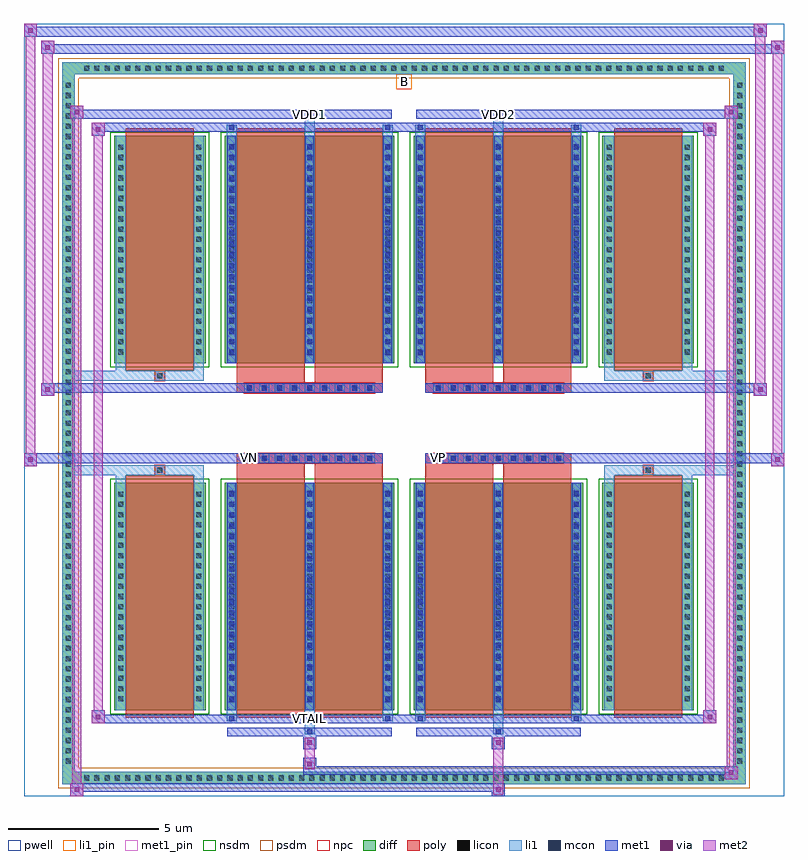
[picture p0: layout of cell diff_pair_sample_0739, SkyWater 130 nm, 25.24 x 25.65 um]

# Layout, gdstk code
import gdstk
lib = gdstk.Library(unit=1e-6, precision=5e-09)
def R(c, l, rs):  # rectangles x0, y0, x1, y1
    for r in rs: c.add(gdstk.rectangle(r[:2], r[2:], *l))
def A(c, l, x, y, w, h, nx, ny, dx, dy):  # array of equal rectangles
    R(c, l, [(x+i*dx, y+j*dy, x+i*dx+w, y+j*dy+h) for i in range(nx) for j in range(ny)])
def P(c, l, *ps):  # polygons
    for p in ps: c.add(gdstk.Polygon(p, *l))
pwell = (64, 44)
diff = (65, 20)
poly = (66, 20)
licon = (66, 44)
li1_pin = (67, 16)
li1 = (67, 20)
mcon = (67, 44)
met1_pin = (68, 16)
met1 = (68, 20)
via = (68, 44)
met2 = (69, 20)
nsdm = (93, 44)
psdm = (94, 20)
npc = (95, 20)

diff_pair_sample_0739 = lib.new_cell('diff_pair_sample_0739')
R(diff_pair_sample_0739, pwell, [(-12.62,-12.39,12.62,13.26), (-9.94,-10.58,-0.01,-0.8), (0.01,-10.58,9.94,-0.8), (-9.94,0.8,-0.01,10.58), (0.01,0.8,9.94,10.58)])
A(diff_pair_sample_0739, diff, -10.745, -11.99, 0.41, 0.41, 63, 2, 0.34, 23.57)
A(diff_pair_sample_0739, diff, -11.35, -11.425, 0.41, 0.41, 1, 67, 0, 0.34)
A(diff_pair_sample_0739, diff, 10.94, -11.425, 0.41, 0.41, 1, 67, 0, 0.34)
R(diff_pair_sample_0739, diff, [(-10.745,-11.99,10.745,-11.58), (-11.35,-11.425,-10.94,11.425), (10.94,-11.425,11.35,11.425), (-9.63,-9.535,-6.59,-1.985), (-5.95,-9.535,-0.32,-1.985), (0.32,-9.535,5.95,-1.985), (6.59,-9.535,9.63,-1.985), (-9.63,1.985,-6.59,9.535), (-5.95,1.985,-0.32,9.535), (0.32,1.985,5.95,9.535), (6.59,1.985,9.63,9.535), (-10.745,11.58,10.745,11.99)])
P(diff_pair_sample_0739, diff, [(11.35,11.99),(-11.35,11.99),(-11.35,-11.58),(-10.94,-11.58),(-10.94,11.58),(10.94,11.58),(10.94,-11.58),(-10.94,-11.58),(-11.35,-11.58),(-11.35,-11.99),(11.35,-11.99)])
A(diff_pair_sample_0739, poly, -5.3, -1.33, 0.33, 0.33, 9, 2, 0.5, 2.33)
A(diff_pair_sample_0739, poly, 0.97, -1.33, 0.33, 0.33, 9, 2, 0.5, 2.33)
R(diff_pair_sample_0739, poly, [(-9.24,-9.785,-6.98,-1.735), (-5.56,-9.785,-3.3,-1.735), (-2.97,-9.785,-0.71,-1.735), (0.71,-9.785,2.97,-1.735), (3.3,-9.785,5.56,-1.735), (6.98,-9.785,9.24,-1.735), (-8.275,-1.735,-7.945,-1.405), (-8.275,-1.735,-7.945,-1.405), (-5.56,-1.735,-3.3,-1.33), (-2.97,-1.735,-0.71,-1.33), (0.71,-1.735,2.97,-1.33), (3.3,-1.735,5.56,-1.33), (7.945,-1.735,8.275,-1.405), (7.945,-1.735,8.275,-1.405), (-5.56,-1.33,-0.71,-1), (0.71,-1.33,5.56,-1), (-5.56,1,-0.71,1.33), (0.71,1,5.56,1.33), (-5.56,1.33,-3.3,1.735), (-2.97,1.33,-0.71,1.735), (0.71,1.33,2.97,1.735), (3.3,1.33,5.56,1.735), (-8.275,1.405,-7.945,1.735), (-8.275,1.405,-7.945,1.735), (7.945,1.405,8.275,1.735), (7.945,1.405,8.275,1.735), (-9.24,1.735,-6.98,9.785), (-5.56,1.735,-3.3,9.785), (-2.97,1.735,-0.71,9.785), (0.71,1.735,2.97,9.785), (3.3,1.735,5.56,9.785), (6.98,1.735,9.24,9.785)])
A(diff_pair_sample_0739, licon, -10.625, -11.87, 0.17, 0.17, 63, 2, 0.34, 23.57)
A(diff_pair_sample_0739, licon, -11.23, -11.305, 0.17, 0.17, 1, 67, 0, 0.34)
A(diff_pair_sample_0739, licon, 11.06, -11.305, 0.17, 0.17, 1, 67, 0, 0.34)
A(diff_pair_sample_0739, licon, -9.49, -9.245, 0.17, 0.17, 1, 21, 0, 0.34)
A(diff_pair_sample_0739, licon, -6.9, -9.245, 0.17, 0.17, 1, 21, 0, 0.34)
A(diff_pair_sample_0739, licon, -5.81, -9.245, 0.17, 0.17, 3, 21, 2.59, 0.34)
A(diff_pair_sample_0739, licon, 0.46, -9.245, 0.17, 0.17, 3, 21, 2.59, 0.34)
A(diff_pair_sample_0739, licon, 6.73, -9.245, 0.17, 0.17, 1, 21, 0, 0.34)
A(diff_pair_sample_0739, licon, 9.32, -9.245, 0.17, 0.17, 1, 21, 0, 0.34)
A(diff_pair_sample_0739, licon, -5.22, -1.25, 0.17, 0.17, 9, 2, 0.5, 2.33)
A(diff_pair_sample_0739, licon, 1.05, -1.25, 0.17, 0.17, 9, 2, 0.5, 2.33)
A(diff_pair_sample_0739, licon, -9.49, 2.275, 0.17, 0.17, 1, 21, 0, 0.34)
A(diff_pair_sample_0739, licon, -6.9, 2.275, 0.17, 0.17, 1, 21, 0, 0.34)
A(diff_pair_sample_0739, licon, -5.81, 2.275, 0.17, 0.17, 3, 21, 2.59, 0.34)
A(diff_pair_sample_0739, licon, 0.46, 2.275, 0.17, 0.17, 3, 21, 2.59, 0.34)
A(diff_pair_sample_0739, licon, 6.73, 2.275, 0.17, 0.17, 1, 21, 0, 0.34)
A(diff_pair_sample_0739, licon, 9.32, 2.275, 0.17, 0.17, 1, 21, 0, 0.34)
R(diff_pair_sample_0739, licon, [(-8.195,-1.655,-8.025,-1.485), (8.025,-1.655,8.195,-1.485), (-8.195,1.485,-8.025,1.655), (8.025,1.485,8.195,1.655)])
R(diff_pair_sample_0739, li1_pin, [(-0.25,11.08,0.25,11.58)])
A(diff_pair_sample_0739, li1, -10.705, -11.95, 0.33, 0.33, 63, 2, 0.34, 23.57)
A(diff_pair_sample_0739, li1, -11.31, -11.385, 0.33, 0.33, 1, 67, 0, 0.34)
A(diff_pair_sample_0739, li1, 10.98, -11.385, 0.33, 0.33, 1, 67, 0, 0.34)
A(diff_pair_sample_0739, li1, -5.89, -9.535, 0.33, 7.55, 3, 2, 2.59, 11.52)
A(diff_pair_sample_0739, li1, 0.38, -9.535, 0.33, 7.55, 3, 2, 2.59, 11.52)
A(diff_pair_sample_0739, li1, -9.57, -9.325, 0.33, 0.33, 1, 21, 0, 0.34)
A(diff_pair_sample_0739, li1, -6.98, -9.325, 0.33, 0.33, 1, 21, 0, 0.34)
A(diff_pair_sample_0739, li1, -5.89, -9.325, 0.33, 0.33, 3, 21, 2.59, 0.34)
A(diff_pair_sample_0739, li1, 0.38, -9.325, 0.33, 0.33, 3, 21, 2.59, 0.34)
A(diff_pair_sample_0739, li1, 6.65, -9.325, 0.33, 0.33, 1, 21, 0, 0.34)
A(diff_pair_sample_0739, li1, 9.24, -9.325, 0.33, 0.33, 1, 21, 0, 0.34)
A(diff_pair_sample_0739, li1, -5.81, -9.265, 0.17, 0.17, 3, 20, 2.59, 0.36)
A(diff_pair_sample_0739, li1, -5.81, -9.265, 0.17, 7.01, 3, 2, 2.59, 11.52)
A(diff_pair_sample_0739, li1, 0.46, -9.265, 0.17, 0.17, 3, 20, 2.59, 0.36)
A(diff_pair_sample_0739, li1, 0.46, -9.265, 0.17, 7.01, 3, 2, 2.59, 11.52)
A(diff_pair_sample_0739, li1, -5.3, -1.33, 0.33, 0.33, 9, 2, 0.5, 2.33)
A(diff_pair_sample_0739, li1, 0.97, -1.33, 0.33, 0.33, 9, 2, 0.5, 2.33)
A(diff_pair_sample_0739, li1, -9.57, 2.195, 0.33, 0.33, 1, 21, 0, 0.34)
A(diff_pair_sample_0739, li1, -6.98, 2.195, 0.33, 0.33, 1, 21, 0, 0.34)
A(diff_pair_sample_0739, li1, -5.89, 2.195, 0.33, 0.33, 3, 21, 2.59, 0.34)
A(diff_pair_sample_0739, li1, 0.38, 2.195, 0.33, 0.33, 3, 21, 2.59, 0.34)
A(diff_pair_sample_0739, li1, 6.65, 2.195, 0.33, 0.33, 1, 21, 0, 0.34)
A(diff_pair_sample_0739, li1, 9.24, 2.195, 0.33, 0.33, 1, 21, 0, 0.34)
A(diff_pair_sample_0739, li1, -5.81, 2.255, 0.17, 0.17, 3, 20, 2.59, 0.36)
A(diff_pair_sample_0739, li1, 0.46, 2.255, 0.17, 0.17, 3, 20, 2.59, 0.36)
R(diff_pair_sample_0739, li1, [(-11.35,-11.99,-10.94,-11.58), (-11.35,-11.99,-10.94,-11.58), (-10.94,-11.99,10.94,-11.58), (10.94,-11.99,11.35,-11.58), (10.94,-11.99,11.35,-11.58), (-11.35,-11.58,-10.94,11.58), (10.94,-11.58,11.35,11.58), (-3.3,-10.34,-2.97,-9.535), (-3.22,-10.34,-3.05,-10.17), (2.97,-10.34,3.3,-9.535), (3.05,-10.34,3.22,-10.17), (-5.89,-9.91,-5.56,-9.535), (-5.81,-9.91,-5.64,-9.74), (-0.71,-9.91,-0.38,-9.535), (-0.63,-9.91,-0.46,-9.74), (0.38,-9.91,0.71,-9.535), (0.46,-9.91,0.63,-9.74), (5.56,-9.91,5.89,-9.535), (5.64,-9.91,5.81,-9.74), (-9.57,-9.535,-9.24,-1.985), (-6.98,-9.535,-6.65,-1.985), (6.65,-9.535,6.98,-1.985), (9.24,-9.535,9.57,-1.985), (-9.57,-1.985,-9.24,-1.405), (-6.98,-1.985,-6.65,-1.405), (6.65,-1.985,6.98,-1.405), (9.24,-1.985,9.57,-1.405), (-11.35,-1.735,-8.275,-1.405), (-9.57,-1.735,-8.275,-1.405), (-8.275,-1.735,-7.945,-1.405), (-7.945,-1.735,-6.65,-1.405), (6.65,-1.735,7.945,-1.405), (7.945,-1.735,8.275,-1.405), (7.945,-1.735,11.35,-1.405), (8.275,-1.735,9.57,-1.405), (-11.35,1.405,-8.275,1.735), (-9.57,1.405,-8.275,1.735), (-9.57,1.405,-9.24,1.985), (-8.275,1.405,-7.945,1.735), (-7.945,1.405,-6.65,1.735), (-6.98,1.405,-6.65,1.985), (6.65,1.405,7.945,1.735), (6.65,1.405,6.98,1.985), (7.945,1.405,8.275,1.735), (7.945,1.405,11.35,1.735), (8.275,1.405,9.57,1.735), (9.24,1.405,9.57,1.985), (-9.57,1.985,-9.24,9.535), (-6.98,1.985,-6.65,9.535), (6.65,1.985,6.98,9.535), (9.24,1.985,9.57,9.535), (-5.89,9.535,-5.56,9.91), (-3.3,9.535,-2.97,10.34), (-0.71,9.535,-0.38,9.91), (0.38,9.535,0.71,9.91), (2.97,9.535,3.3,10.34), (5.56,9.535,5.89,9.91), (-5.81,9.74,-5.64,9.91), (-0.63,9.74,-0.46,9.91), (0.46,9.74,0.63,9.91), (5.64,9.74,5.81,9.91), (-3.22,10.17,-3.05,10.34), (3.05,10.17,3.22,10.34), (-11.35,11.58,-10.94,11.99), (-11.35,11.58,-10.94,11.99), (-10.94,11.58,10.94,11.99), (10.94,11.58,11.35,11.99), (10.94,11.58,11.35,11.99)])
A(diff_pair_sample_0739, mcon, -5.81, -9.265, 0.17, 0.17, 3, 20, 2.59, 0.36)
A(diff_pair_sample_0739, mcon, 0.46, -9.265, 0.17, 0.17, 3, 20, 2.59, 0.36)
A(diff_pair_sample_0739, mcon, -5.22, -1.25, 0.17, 0.17, 9, 2, 0.5, 2.33)
A(diff_pair_sample_0739, mcon, 1.05, -1.25, 0.17, 0.17, 9, 2, 0.5, 2.33)
A(diff_pair_sample_0739, mcon, -5.81, 2.255, 0.17, 0.17, 3, 20, 2.59, 0.36)
A(diff_pair_sample_0739, mcon, 0.46, 2.255, 0.17, 0.17, 3, 20, 2.59, 0.36)
R(diff_pair_sample_0739, mcon, [(-3.22,-10.34,-3.05,-10.17), (3.05,-10.34,3.22,-10.17), (-5.81,-9.91,-5.64,-9.74), (-0.63,-9.91,-0.46,-9.74), (0.46,-9.91,0.63,-9.74), (5.64,-9.91,5.81,-9.74), (-5.81,9.74,-5.64,9.91), (-0.63,9.74,-0.46,9.91), (0.46,9.74,0.63,9.91), (5.64,9.74,5.81,9.91), (-3.22,10.17,-3.05,10.34), (3.05,10.17,3.22,10.34)])
R(diff_pair_sample_0739, met1_pin, [(-3.27,-9.95,-3,-9.68), (-5.27,-1.29,-5,-1.02), (1,-1.29,1.27,-1.02), (-3.27,10.13,-3,10.4), (3,10.13,3.27,10.4)])
A(diff_pair_sample_0739, met1, -5.87, -9.535, 0.29, 7.55, 3, 2, 2.59, 11.52)
A(diff_pair_sample_0739, met1, 0.4, -9.535, 0.29, 7.55, 3, 2, 2.59, 11.52)
A(diff_pair_sample_0739, met1, -5.87, -9.325, 0.29, 0.29, 3, 20, 2.59, 0.36)
A(diff_pair_sample_0739, met1, 0.4, -9.325, 0.29, 0.29, 3, 20, 2.59, 0.36)
A(diff_pair_sample_0739, met1, -5.28, -1.31, 0.29, 0.29, 9, 2, 0.5, 2.33)
A(diff_pair_sample_0739, met1, 0.99, -1.31, 0.29, 0.29, 9, 2, 0.5, 2.33)
A(diff_pair_sample_0739, met1, -5.87, 2.195, 0.29, 0.29, 3, 20, 2.59, 0.36)
A(diff_pair_sample_0739, met1, 0.4, 2.195, 0.29, 0.29, 3, 20, 2.59, 0.36)
R(diff_pair_sample_0739, met1, [(-11.08,-12.39,-10.65,-11.96), (2.92,-12.39,3.35,-11.96), (-11.08,-12.25,3.35,-11.96), (10.65,-11.82,11.08,-11.39), (-3.35,-11.68,11.08,-11.39), (-3.35,-11.54,-2.92,-11.11), (-3.35,-10.83,-2.92,-10.4), (2.92,-10.83,3.35,-10.4), (-5.87,-10.4,-0.4,-10.11), (-3.28,-10.4,-2.99,-10.11), (0.4,-10.4,5.87,-10.11), (2.99,-10.4,3.28,-10.11), (-10.37,-9.97,-9.94,-9.54), (-10.37,-9.97,-5.87,-9.68), (-5.87,-9.97,-5.58,-9.68), (-5.87,-9.97,-0.4,-9.68), (-0.69,-9.97,-0.4,-9.68), (-0.4,-9.97,0.4,-9.68), (0.4,-9.97,0.69,-9.68), (0.4,-9.97,5.87,-9.68), (5.58,-9.97,5.87,-9.68), (5.87,-9.97,10.37,-9.68), (9.94,-9.97,10.37,-9.54), (-12.62,-1.43,-12.19,-1), (12.19,-1.43,12.62,-1), (-12.62,-1.33,-0.71,-1), (-5.56,-1.33,-0.71,-1), (0.71,-1.33,5.56,-1), (0.71,-1.33,12.62,-1), (-12.05,0.9,-11.62,1.33), (11.62,0.9,12.05,1.33), (-12.05,1,-5.56,1.33), (-5.56,1,-0.71,1.33), (0.71,1,5.56,1.33), (5.56,1,12.05,1.33), (-10.37,9.54,-9.94,9.97), (9.94,9.54,10.37,9.97), (-10.37,9.68,-5.87,9.97), (-5.87,9.68,-5.58,9.97), (-5.87,9.68,-0.4,9.97), (-0.69,9.68,-0.4,9.97), (-0.4,9.68,0.4,9.97), (0.4,9.68,0.69,9.97), (0.4,9.68,5.87,9.97), (5.58,9.68,5.87,9.97), (5.87,9.68,10.37,9.97), (-11.08,10.11,-10.65,10.54), (-11.08,10.11,-5.87,10.4), (-5.87,10.11,-0.4,10.4), (-3.28,10.11,-2.99,10.4), (0.4,10.11,5.87,10.4), (2.99,10.11,3.28,10.4), (5.87,10.11,11.08,10.4), (10.65,10.11,11.08,10.54), (-12.05,12.26,-11.62,12.69), (-12.05,12.26,-9.94,12.59), (-9.94,12.26,9.94,12.59), (9.94,12.26,12.62,12.59), (12.19,12.26,12.62,12.69), (-12.62,12.83,-12.19,13.26), (-12.62,12.83,-9.94,13.16), (-9.94,12.83,9.94,13.16), (9.94,12.83,12.05,13.16), (11.62,12.83,12.05,13.26)])
R(diff_pair_sample_0739, via, [(-10.94,-12.25,-10.79,-12.1), (3.06,-12.25,3.21,-12.1), (10.79,-11.68,10.94,-11.53), (-3.21,-11.4,-3.06,-11.25), (-3.21,-10.69,-3.06,-10.54), (3.06,-10.69,3.21,-10.54), (-10.23,-9.83,-10.08,-9.68), (10.08,-9.83,10.23,-9.68), (-12.48,-1.29,-12.33,-1.14), (12.33,-1.29,12.48,-1.14), (-11.91,1.04,-11.76,1.19), (11.76,1.04,11.91,1.19), (-10.23,9.68,-10.08,9.83), (10.08,9.68,10.23,9.83), (-10.94,10.25,-10.79,10.4), (10.79,10.25,10.94,10.4), (-11.91,12.4,-11.76,12.55), (12.33,12.4,12.48,12.55), (-12.48,12.97,-12.33,13.12), (11.76,12.97,11.91,13.12)])
R(diff_pair_sample_0739, met2, [(-11.08,-12.39,-10.65,-11.96), (-11.01,-12.39,-10.72,10.54), (-10.72,-12.39,-10.65,-11.96), (-11.03,-12.34,-10.7,-12.01), (2.97,-12.34,3.3,-12.01), (2.97,-12.01,3.3,-10.78), (10.65,-11.82,11.08,-11.39), (10.72,-11.82,11.01,10.54), (11.01,-11.82,11.08,-11.39), (10.7,-11.77,11.03,-11.44), (-3.3,-11.49,-2.97,-11.16), (-3.3,-11.16,-2.97,-10.78), (-3.3,-10.78,-2.97,-10.45), (2.97,-10.78,3.3,-10.45), (-10.37,-9.97,-9.94,-9.54), (-10.3,-9.97,-10.01,9.97), (-10.01,-9.97,-9.94,-9.54), (9.94,-9.97,10.37,-9.54), (10.01,-9.97,10.3,9.97), (10.3,-9.97,10.37,-9.54), (-10.32,-9.92,-9.99,-9.59), (9.99,-9.92,10.32,-9.59), (-12.62,-1.43,-12.19,-1), (-12.57,-1.43,-12.24,13.26), (-12.24,-1.43,-12.19,-1), (12.19,-1.43,12.62,-1), (12.24,-1.43,12.57,12.69), (12.57,-1.43,12.62,-1), (-12.57,-1.38,-12.24,-1.05), (12.24,-1.38,12.57,-1.05), (-12.05,0.9,-11.62,1.33), (-12,0.9,-11.67,12.69), (-11.67,0.9,-11.62,1.33), (11.62,0.9,12.05,1.33), (11.67,0.9,12,13.26), (12,0.9,12.05,1.33), (-12,0.95,-11.67,1.28), (11.67,0.95,12,1.28), (-10.37,9.54,-9.94,9.97), (-10.01,9.54,-9.94,9.97), (9.94,9.54,10.37,9.97), (10.3,9.54,10.37,9.97), (-10.32,9.59,-9.99,9.92), (9.99,9.59,10.32,9.92), (-11.08,10.11,-10.65,10.54), (-10.72,10.11,-10.65,10.54), (10.65,10.11,11.08,10.54), (11.01,10.11,11.08,10.54), (-11.03,10.16,-10.7,10.49), (10.7,10.16,11.03,10.49), (-12.05,12.26,-11.62,12.69), (-11.67,12.26,-11.62,12.69), (12.19,12.26,12.62,12.69), (12.57,12.26,12.62,12.69), (-12,12.31,-11.67,12.64), (12.24,12.31,12.57,12.64), (-12.62,12.83,-12.19,13.26), (-12.24,12.83,-12.19,13.26), (11.62,12.83,12.05,13.26), (12,12.83,12.05,13.26), (-12.57,12.88,-12.24,13.21), (11.67,12.88,12,13.21)])
R(diff_pair_sample_0739, nsdm, [(-9.76,-9.665,-6.46,-1.855), (-6.08,-9.665,-0.19,-1.855), (0.19,-9.665,6.08,-1.855), (6.46,-9.665,9.76,-1.855), (-9.76,1.855,-6.46,9.665), (-6.08,1.855,-0.19,9.665), (0.19,1.855,6.08,9.665), (6.46,1.855,9.76,9.665)])
P(diff_pair_sample_0739, psdm, [(11.48,12.12),(-11.48,12.12),(-11.48,-11.45),(-10.81,-11.45),(-10.81,11.45),(10.81,11.45),(10.81,-11.45),(-10.81,-11.45),(-11.48,-11.45),(-11.48,-12.12),(11.48,-12.12)])
A(diff_pair_sample_0739, npc, -5.32, -1.35, 0.37, 0.37, 9, 2, 0.5, 2.33)
A(diff_pair_sample_0739, npc, 0.95, -1.35, 0.37, 0.37, 9, 2, 0.5, 2.33)
R(diff_pair_sample_0739, npc, [(-8.295,-1.755,-7.925,-1.385), (7.925,-1.755,8.295,-1.385), (-5.32,-1.35,-4.45,-0.98), (-5.32,-1.35,-4.45,-0.98), (-4.82,-1.35,-3.95,-0.98), (-4.82,-1.35,-3.95,-0.98), (-4.32,-1.35,-3.45,-0.98), (-4.32,-1.35,-3.45,-0.98), (-3.82,-1.35,-2.95,-0.98), (-3.82,-1.35,-2.95,-0.98), (-3.32,-1.35,-2.45,-0.98), (-3.32,-1.35,-2.45,-0.98), (-2.82,-1.35,-1.95,-0.98), (-2.82,-1.35,-1.95,-0.98), (-2.32,-1.35,-1.45,-0.98), (-2.32,-1.35,-1.45,-0.98), (-1.82,-1.35,-0.95,-0.98), (-1.82,-1.35,-0.95,-0.98), (0.95,-1.35,1.82,-0.98), (0.95,-1.35,1.82,-0.98), (1.45,-1.35,2.32,-0.98), (1.45,-1.35,2.32,-0.98), (1.95,-1.35,2.82,-0.98), (1.95,-1.35,2.82,-0.98), (2.45,-1.35,3.32,-0.98), (2.45,-1.35,3.32,-0.98), (2.95,-1.35,3.82,-0.98), (2.95,-1.35,3.82,-0.98), (3.45,-1.35,4.32,-0.98), (3.45,-1.35,4.32,-0.98), (3.95,-1.35,4.82,-0.98), (3.95,-1.35,4.82,-0.98), (4.45,-1.35,5.32,-0.98), (4.45,-1.35,5.32,-0.98), (-5.32,0.98,-4.45,1.35), (-5.32,0.98,-4.45,1.35), (-4.82,0.98,-3.95,1.35), (-4.82,0.98,-3.95,1.35), (-4.32,0.98,-3.45,1.35), (-4.32,0.98,-3.45,1.35), (-3.82,0.98,-2.95,1.35), (-3.82,0.98,-2.95,1.35), (-3.32,0.98,-2.45,1.35), (-3.32,0.98,-2.45,1.35), (-2.82,0.98,-1.95,1.35), (-2.82,0.98,-1.95,1.35), (-2.32,0.98,-1.45,1.35), (-2.32,0.98,-1.45,1.35), (-1.82,0.98,-0.95,1.35), (-1.82,0.98,-0.95,1.35), (0.95,0.98,1.82,1.35), (0.95,0.98,1.82,1.35), (1.45,0.98,2.32,1.35), (1.45,0.98,2.32,1.35), (1.95,0.98,2.82,1.35), (1.95,0.98,2.82,1.35), (2.45,0.98,3.32,1.35), (2.45,0.98,3.32,1.35), (2.95,0.98,3.82,1.35), (2.95,0.98,3.82,1.35), (3.45,0.98,4.32,1.35), (3.45,0.98,4.32,1.35), (3.95,0.98,4.82,1.35), (3.95,0.98,4.82,1.35), (4.45,0.98,5.32,1.35), (4.45,0.98,5.32,1.35), (-8.295,1.385,-7.925,1.755), (7.925,1.385,8.295,1.755)])
diff_pair_sample_0739.add(gdstk.Label('VTAIL', (-3.135,-9.815), layer=68, texttype=5))
diff_pair_sample_0739.add(gdstk.Label('VN', (-5.135,-1.155), layer=68, texttype=5))
diff_pair_sample_0739.add(gdstk.Label('VP', (1.135,-1.155), layer=68, texttype=5))
diff_pair_sample_0739.add(gdstk.Label('B', (0,11.33), layer=67, texttype=5))
diff_pair_sample_0739.add(gdstk.Label('VDD2', (3.135,10.265), layer=68, texttype=5))
diff_pair_sample_0739.add(gdstk.Label('VDD1', (-3.135,10.265), layer=68, texttype=5))

lib.write_gds('diff_pair_sample_0739.gds')
